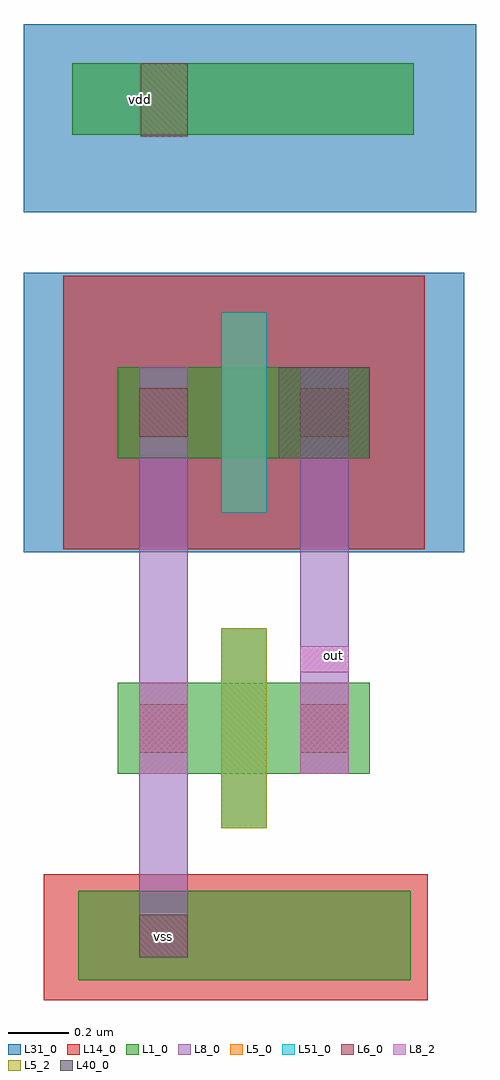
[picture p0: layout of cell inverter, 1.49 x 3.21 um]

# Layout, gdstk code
import gdstk
lib = gdstk.Library(unit=1e-6, precision=5e-09)
def R(c, l, rs):  # rectangles x0, y0, x1, y1
    for r in rs: c.add(gdstk.rectangle(r[:2], r[2:], *l))
L1_0 = (1, 0)
L5_0 = (5, 0)
L5_2 = (5, 2)
L6_0 = (6, 0)
L8_0 = (8, 0)
L8_2 = (8, 2)
L14_0 = (14, 0)
L31_0 = (31, 0)
L40_0 = (40, 0)
L51_0 = (51, 0)

nmos_1 = lib.new_cell('nmos$1')
R(nmos_1, L1_0, [(0,0,0.3,0.3), (0,0,0.83,0.3), (0.53,0,0.83,0.3)])
R(nmos_1, L5_0, [(0.34,-0.18,0.49,0.48)])
R(nmos_1, L5_2, [(0.34,-0.18,0.49,0.48)])
R(nmos_1, L6_0, [(0.07,0.07,0.23,0.23), (0.6,0.07,0.76,0.23)])
R(nmos_1, L8_0, [(0.07,0,0.23,0.3), (0.6,0,0.76,0.3)])
R(nmos_1, L8_2, [(0.07,0,0.23,0.3), (0.6,0,0.76,0.3)])
R(nmos_1, L51_0, [(0.34,-0.18,0.49,0.48)])
nmos_1.add(gdstk.Label('nmos', (0.415,0.15), layer=63, texttype=0))
nmos_1.add(gdstk.Label('nmos', (0.415,0.15), layer=51, texttype=0))

pmos = lib.new_cell('pmos')
R(pmos, L1_0, [(0,0,0.3,0.3), (0,0,0.83,0.3), (0.53,0,0.83,0.3)])
R(pmos, L5_0, [(0.34,-0.18,0.49,0.48), (0.34,-0.18,0.49,0.48)])
R(pmos, L6_0, [(0.07,0.07,0.23,0.23), (0.6,0.07,0.76,0.23)])
R(pmos, L8_0, [(0.07,0,0.23,0.3), (0.07,0,0.23,0.3), (0.6,0,0.76,0.3), (0.6,0,0.76,0.3)])
R(pmos, L14_0, [(-0.18,-0.3,1.01,0.6)])
R(pmos, L31_0, [(-0.31,-0.31,1.14,0.61)])
R(pmos, L40_0, [(0.53,0,0.83,0.3)])
R(pmos, L51_0, [(0.34,-0.18,0.49,0.48)])
pmos.add(gdstk.Label('pmos', (0.415,0.15), layer=63, texttype=0))
pmos.add(gdstk.Label('pmos', (0.415,0.15), layer=51, texttype=0))

inverter = lib.new_cell('inverter')
R(inverter, L1_0, [(-0.745,-1.005,0.35,-0.71), (-0.765,1.78,0.36,2.015)])
R(inverter, L6_0, [(-0.545,-0.93,-0.385,-0.79), (-0.54,1.775,-0.385,2.015)])
R(inverter, L8_0, [(-0.545,-0.93,-0.385,-0.045), (-0.545,-0.025,-0.385,0.715), (-0.015,-0.025,0.145,0.715)])
R(inverter, L8_2, [(-0.015,0.01,0.145,0.095)])
R(inverter, L14_0, [(-0.86,-1.07,0.405,-0.655)])
R(inverter, L31_0, [(-0.925,1.525,0.565,2.145)])
inverter.add(gdstk.Reference(nmos_1, (-0.615,-0.325)))
inverter.add(gdstk.Reference(pmos, (-0.615,0.715)))
inverter.add(gdstk.Label('vss', (-0.465,-0.86), layer=14, texttype=0))
inverter.add(gdstk.Label('vdd', (-0.54,1.895), layer=14, texttype=0))
inverter.add(gdstk.Label('out', (0.095,0.065), layer=8, texttype=2))

lib.write_gds('inverter.gds')
